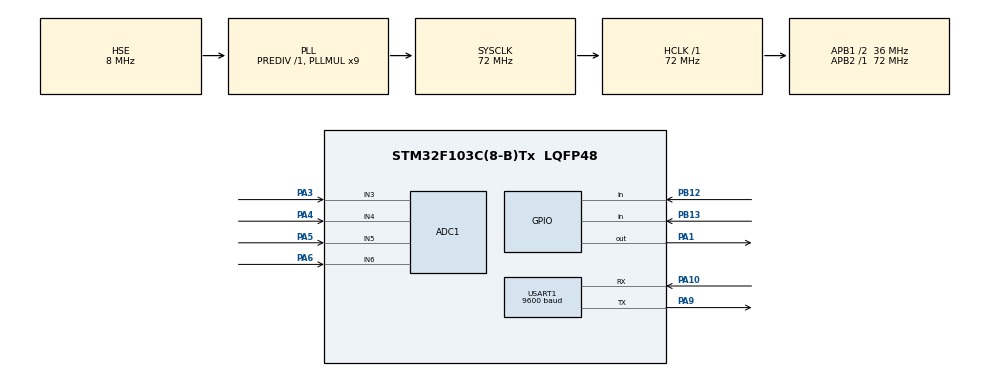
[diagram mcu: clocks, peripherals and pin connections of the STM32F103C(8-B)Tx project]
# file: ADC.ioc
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ADC1.Channel-0\#ChannelRegularConversion=ADC_CHANNEL_3
ADC1.Channel-1\#ChannelRegularConversion=ADC_CHANNEL_4
ADC1.Channel-2\#ChannelRegularConversion=ADC_CHANNEL_5
ADC1.Channel-3\#ChannelRegularConversion=ADC_CHANNEL_6
ADC1.DiscontinuousConvMode=ENABLE
ADC1.NbrOfConversion=4
ADC1.NbrOfConversionFlag=1
ADC1.Rank-0\#ChannelRegularConversion=1
ADC1.Rank-1\#ChannelRegularConversion=2
ADC1.Rank-2\#ChannelRegularConversion=3
ADC1.Rank-3\#ChannelRegularConversion=4
ADC1.SamplingTime-0\#ChannelRegularConversion=ADC_SAMPLETIME_1CYCLE_5
ADC1.SamplingTime-1\#ChannelRegularConversion=ADC_SAMPLETIME_1CYCLE_5
ADC1.SamplingTime-2\#ChannelRegularConversion=ADC_SAMPLETIME_1CYCLE_5
ADC1.SamplingTime-3\#ChannelRegularConversion=ADC_SAMPLETIME_1CYCLE_5
ADC1.master=1
Mcu.Family=STM32F1
Mcu.Name=STM32F103C(8-B)Tx
Mcu.Package=LQFP48
NVIC.PriorityGroup=NVIC_PRIORITYGROUP_4
NVIC.TIM2_IRQn=true\:0\:0\:false\:false\:true\:true\:true
NVIC.USART1_IRQn=true\:0\:0\:false\:false\:true\:true\:true
PA1.GPIO_PuPd=GPIO_PULLUP
PA1.PinState=GPIO_PIN_SET
PA1.Signal=GPIO_Output
PA10.Mode=Asynchronous
PA10.Signal=USART1_RX
PA13.Mode=Serial_Wire
PA13.Signal=SYS_JTMS-SWDIO
PA14.Mode=Serial_Wire
PA14.Signal=SYS_JTCK-SWCLK
PA3.Signal=ADCx_IN3
PA4.Signal=ADCx_IN4
PA5.Signal=ADCx_IN5
PA6.Signal=ADCx_IN6
PA9.Mode=Asynchronous
PA9.Signal=USART1_TX
PB12.GPIO_PuPd=GPIO_PULLDOWN
PB12.Signal=GPIO_Input
PB13.GPIO_PuPd=GPIO_PULLDOWN
PB13.Signal=GPIO_Input
PC14-OSC32_IN.Mode=LSE-External-Oscillator
PC14-OSC32_IN.Signal=RCC_OSC32_IN
PC15-OSC32_OUT.Mode=LSE-External-Oscillator
PC15-OSC32_OUT.Signal=RCC_OSC32_OUT
PD0-OSC_IN.Mode=HSE-External-Oscillator
PD0-OSC_IN.Signal=RCC_OSC_IN
PD1-OSC_OUT.Mode=HSE-External-Oscillator
PD1-OSC_OUT.Signal=RCC_OSC_OUT
ProjectManager.HeapSize=0x200
ProjectManager.StackSize=0x400
ProjectManager.TargetToolchain=MDK-ARM V5.32
RCC.ADCPresc=RCC_ADCPCLK2_DIV6
RCC.AHBFreq_Value=72000000
RCC.APB1CLKDivider=RCC_HCLK_DIV2
RCC.APB1Freq_Value=36000000
RCC.APB1TimFreq_Value=72000000
RCC.APB2Freq_Value=72000000
RCC.APB2TimFreq_Value=72000000
RCC.HCLKFreq_Value=72000000
RCC.PLLMUL=RCC_PLL_MUL9
RCC.PLLSourceVirtual=RCC_PLLSOURCE_HSE
RCC.SYSCLKFreq_VALUE=72000000
RCC.SYSCLKSource=RCC_SYSCLKSOURCE_PLLCLK
RCC.USBFreq_Value=72000000
SH.ADCx_IN3.0=ADC1_IN3,IN3
SH.ADCx_IN4.0=ADC1_IN4,IN4
SH.ADCx_IN5.0=ADC1_IN5,IN5
SH.ADCx_IN6.0=ADC1_IN6,IN6
TIM2.Period=100-1
TIM2.Prescaler=720-1
USART1.BaudRate=9600
USART1.VirtualMode=VM_ASYNC
VP_TIM2_VS_ClockSourceINT.Mode=Internal
board=custom

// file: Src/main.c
/* USER CODE BEGIN Header */
/**
 ******************************************************************************
 * @file           : main.c
 * @brief          : Main program body
 ******************************************************************************
 * @attention
 *
 * <h2><center>&copy; Copyright (c) 2024 STMicroelectronics.
 * All rights reserved.</center></h2>
 *
 * This software component is licensed by ST under BSD 3-Clause license,
 * the "License"; You may not use this file except in compliance with the
 * License. You may obtain a copy of the License at:
 *                        opensource.org/licenses/BSD-3-Clause
 *
 ******************************************************************************
 */
/* USER CODE END Header */
#include "main.h"
#include "adc.h"
#include "tim.h"
#include "usart.h"
#include "gpio.h"

/* USER CODE BEGIN Includes */
#include "sample.h"
#include "stdio.h"
#include "string.h"
#include <stdlib.h>
#include "send.h"

/* USER CODE END Includes */

/* USER CODE BEGIN PTD */

// uint8_t USART2_aRxBuffer;
// uint8_t UART2_Rx_Cnt = 0;
uint32_t ADC_Buffer[ADC_CHANNELS];

/* USER CODE END PTD */

/* USER CODE BEGIN PV */
extern double RMS[3];

extern uint32_t adc_index ;
extern uint32_t send_flag  ;
    float RMS_A_float ;
    float RMS_B_float ;
    float RMS_C_float ;
	int RMS_A_int ;
    int RMS_B_int ;
    int RMS_C_int ;
	float K = 1.0204081632653*10;
	float KA = 0.4995234147004326;
	float KA1 = 1.004135878281241;
	float KB1 = 1.004021104523617;
	float KA2 = 1.0050251256281407;

/* USER CODE END PV */

void SystemClock_Config(void);

int main(void)
{

  /* MCU Configuration--------------------------------------------------------*/

  /* Reset of all peripherals, Initializes the Flash interface and the Systick. */
  HAL_Init();

  /* Configure the system clock */
  SystemClock_Config();

  /* Initialize all configured peripherals */
  MX_GPIO_Init();
  MX_ADC1_Init();
  MX_TIM2_Init();
  MX_USART1_UART_Init();
  /* USER CODE BEGIN 2 */

    HAL_TIM_Base_Start_IT(&htim2);

  while (1) {
	if((send_flag == 1)&&IO_NB_NETMODE&&IO_NB_LINK){
    RMS_A_float = (RMS[2]*3.3*1000.0)/(4096.0*2.55) ;
	RMS_B_float = (RMS[1]*3.3*1000.0)/(4096.0*2.55) ;
	RMS_C_float = (RMS[0]*3.3*1000.0)/(4096.0*2.55) ;
	RMS_A_int = (int)(RMS_A_float*K*KA*KA1*KA2);
     RMS_B_int = (int)(RMS_B_float*K*KA*KB1);
     RMS_C_int = (int)(RMS_C_float*K*KA*KA1);
	uint16_t o1, o2, o3;
	determine_phase_order(&o1, &o2, &o3);
    if (RMS_A_int < 100.0 || RMS_B_int < 100.0 || RMS_C_int < 100.0) {
        o1 = 92 - 65;
        o2 = 92 - 65;
        o3 = 92 - 65;
		if(RMS_A_int+RMS_B_int+RMS_C_int> 50){
		fillReportData(o1, o2, o3, RMS_A_int, RMS_B_int, RMS_C_int);}
    }
	else{
	if(RMS_A_int+RMS_B_int+RMS_C_int> 50){
		fillReportData(o1, o2, o3, RMS_A_int, RMS_B_int, RMS_C_int);}
	}
	send_flag = 0;
  }
 }

  /* USER CODE END 2 */

  /* Infinite loop */

}

void SystemClock_Config(void)
{
  RCC_OscInitTypeDef RCC_OscInitStruct = {0};
  RCC_ClkInitTypeDef RCC_ClkInitStruct = {0};
  RCC_PeriphCLKInitTypeDef PeriphClkInit = {0};

  /** Initializes the RCC Oscillators according to the specified parameters
  * in the RCC_OscInitTypeDef structure.
  */
  RCC_OscInitStruct.OscillatorType = RCC_OSCILLATORTYPE_HSE;
  RCC_OscInitStruct.HSEState = RCC_HSE_ON;
  RCC_OscInitStruct.HSEPredivValue = RCC_HSE_PREDIV_DIV1;
  RCC_OscInitStruct.HSIState = RCC_HSI_ON;
  RCC_OscInitStruct.PLL.PLLState = RCC_PLL_ON;
  RCC_OscInitStruct.PLL.PLLSource = RCC_PLLSOURCE_HSE;
  RCC_OscInitStruct.PLL.PLLMUL = RCC_PLL_MUL9;
  if (HAL_RCC_OscConfig(&RCC_OscInitStruct) != HAL_OK)
  {
    Error_Handler();
  }
  /** Initializes the CPU, AHB and APB buses clocks
  */
  RCC_ClkInitStruct.ClockType = RCC_CLOCKTYPE_HCLK|RCC_CLOCKTYPE_SYSCLK
                              |RCC_CLOCKTYPE_PCLK1|RCC_CLOCKTYPE_PCLK2;
  RCC_ClkInitStruct.SYSCLKSource = RCC_SYSCLKSOURCE_PLLCLK;
  RCC_ClkInitStruct.AHBCLKDivider = RCC_SYSCLK_DIV1;
  RCC_ClkInitStruct.APB1CLKDivider = RCC_HCLK_DIV2;
  RCC_ClkInitStruct.APB2CLKDivider = RCC_HCLK_DIV1;

  if (HAL_RCC_ClockConfig(&RCC_ClkInitStruct, FLASH_LATENCY_2) != HAL_OK)
  {
    Error_Handler();
  }
  PeriphClkInit.PeriphClockSelection = RCC_PERIPHCLK_ADC;
  PeriphClkInit.AdcClockSelection = RCC_ADCPCLK2_DIV6;
  if (HAL_RCCEx_PeriphCLKConfig(&PeriphClkInit) != HAL_OK)
  {
    Error_Handler();
  }
}

void Error_Handler(void)
{
  __disable_irq();
  while (1) {
  }
}

#ifdef  USE_FULL_ASSERT
/**
  * @brief  Reports the name of the source file and the source line number
  *         where the assert_param error has occurred.
  * @param  file: pointer to the source file name
  * @param  line: assert_param error line source number
  * @retval None
  */
void assert_failed(uint8_t *file, uint32_t line)
{
  /* USER CODE BEGIN 6 */
  /* User can add his own implementation to report the file name and line
     number, ex: printf("Wrong parameters value: file %s on line %d\r\n", file,
     line) */
  /* USER CODE END 6 */
}
#endif /* USE_FULL_ASSERT */

/************************ (C) COPYRIGHT STMicroelectronics *****END OF FILE****/
